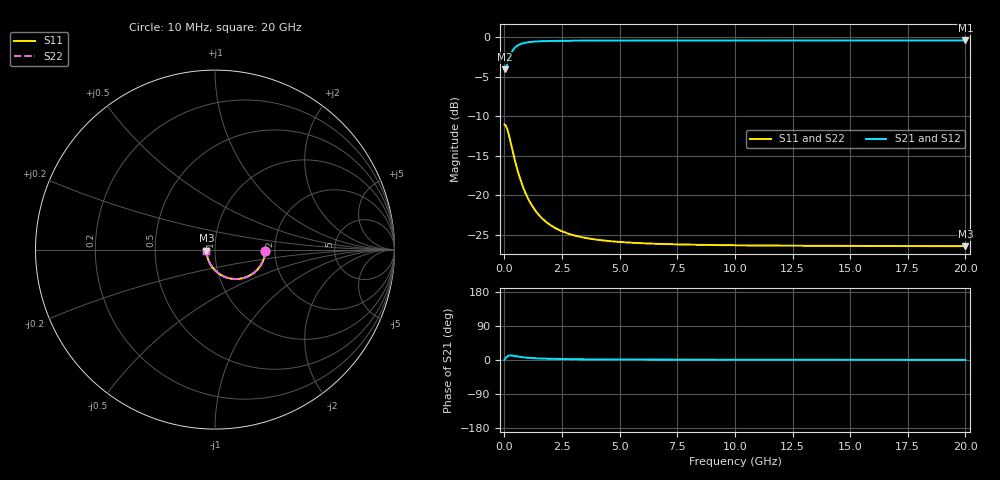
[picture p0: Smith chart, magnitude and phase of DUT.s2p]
! Touchstone file from project
# GHZ S MA R 50.000000
! Modal data exported
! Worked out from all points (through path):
!   2000 points, 10 MHz to 20 GHz, reference 50 ohm
!   highest |S21| = -0.42 dB at 20 GHz (marker M1); lowest = -4.1 dB at 10 MHz (marker M2)
!   lowest |S11| = -26.4 dB at 20 GHz (marker M3), VSWR 1.10, Z = 45.5 - j0.483 ohm
!   |S11| at or under -10 dB: start of sweep to end of sweep
!   |S22| runs from -26.4 to -11.1 dB; largest |S21 - S12| = 0
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0.01  0.2801 -2.1  0.6249 0.9  0.6249 0.9  0.2801 -2.1
! Port Impedance 5.000000E+001 0.000000E+000 5.000000E+001 0.000000E+000
0.09  0.2703 -18.2  0.6536 7.4  0.6536 7.4  0.2703 -18.2
0.14  0.2579 -27.6  0.6867 10.0  0.6867 10.0  0.2579 -27.6
0.19  0.2429 -36.1  0.7229 11.4  0.7229 11.4  0.2429 -36.1
0.25  0.2237 -45.2  0.7637 12.0  0.7637 12.0  0.2237 -45.2
0.32  0.2021 -54.2  0.8035 11.8  0.8035 11.8  0.2021 -54.2
0.42  0.1752 -64.8  0.8452 10.8  0.8452 10.8  0.1752 -64.8
0.52  0.1535 -73.4  0.8733 9.7  0.8733 9.7  0.1535 -73.4
0.63  0.1349 -81.1  0.8939 8.6  0.8939 8.6  0.1349 -81.1
0.77  0.1171 -89.2  0.9107 7.4  0.9107 7.4  0.1171 -89.2
1.01  0.09679 -100.2  0.9268 5.9  0.9268 5.9  0.09679 -100.2
1.29  0.08236 -110.0  0.9362 4.7  0.9362 4.7  0.08236 -110.0
1.67  0.07091 -120.3  0.9425 3.7  0.9425 3.7  0.07091 -120.3
2.12  0.06328 -129.4  0.9462 3.0  0.9462 3.0  0.06328 -129.4
2.67  0.05807 -137.6  0.9484 2.4  0.9484 2.4  0.05807 -137.6
3.35  0.05452 -144.9  0.9499 1.9  0.9499 1.9  0.05452 -144.9
4.68  0.05129 -153.9  0.9511 1.4  0.9511 1.4  0.05129 -153.9
6.68  0.04946 -161.3  0.9517 1.0  0.9517 1.0  0.04946 -161.3
10.01  0.04845 -167.4  0.9521 0.6  0.9521 0.6  0.04845 -167.4
13.34  0.04809 -170.5  0.9522 0.5  0.9522 0.5  0.04809 -170.5
16.67  0.04792 -172.4  0.9523 0.4  0.9523 0.4  0.04792 -172.4
20  0.04783 -173.6  0.9523 0.3  0.9523 0.3  0.04783 -173.6
